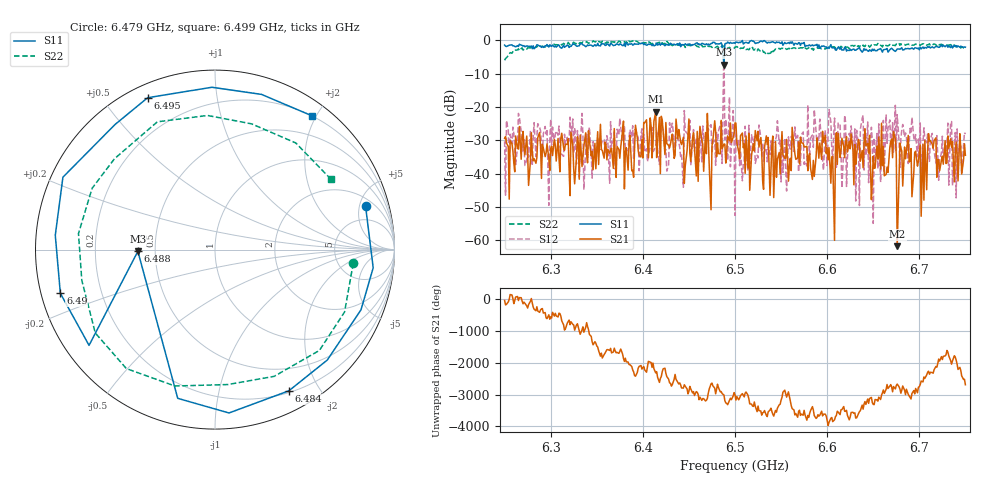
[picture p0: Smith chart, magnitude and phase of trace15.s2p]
# Hz S RI R 50
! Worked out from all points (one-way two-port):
!   401 points, 6.25 GHz to 6.75 GHz, reference 50 ohm
!   highest |S21| = -21.45 dB at 6.414 GHz (marker M1); lowest = -61.7 dB at 6.676 GHz (marker M2)
!   lowest |S11| = -7.3 dB at 6.488 GHz (marker M3), VSWR 2.51, Z = 19.9 - j0.47 ohm
!   |S11| at or under -10 dB: nowhere
!   |S22| runs from -6.0 to -0.2 dB; largest |S21 - S12| = 0.78
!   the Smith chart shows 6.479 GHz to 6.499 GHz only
!   S11 on the Smith chart (normalised r, x): 6.479 GHz: 2.84, +5.74; 6.484 GHz: 0.22, -1.63; 6.488 GHz: 0.40, -0.01; 6.49 GHz: 0.06, -0.14; 6.495 GHz: 0.05, +0.65; 6.499 GHz: 0.20, +1.94
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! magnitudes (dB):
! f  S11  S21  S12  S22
! 6.25 GHz  -1.5  -29.4  -30.3  -6.0
! 6.334 GHz  -1.0  -37.9  -21.9  -0.8
! 6.414 GHz  -1.5  -21.4  -31.5  -0.9
! 6.418 GHz  -1.1  -23.2  -37.3  -0.6
! 6.479 GHz  -1.2  -27.4  -37.5  -2.2
! 6.484 GHz  -1.0  -34.0  -25.3  -2.4
! 6.488 GHz  -7.3  -31.1  -2.1  -1.8
! 6.49 GHz  -1.0  -36.8  -23.7  -2.3
! 6.495 GHz  -0.7  -24.8  -37.9  -2.5
! 6.499 GHz  -0.7  -28.0  -29.0  -2.4
! 6.5 GHz  -0.9  -24.8  -52.5  -2.1
! 6.514 GHz  -0.9  -38.3  -39.2  -2.7
! 6.525 GHz  -0.8  -27.3  -35.3  -2.6
! 6.54 GHz  -0.5  -31.7  -34.4  -2.9
! 6.584 GHz  -1.4  -41.7  -28.4  -2.5
! 6.634 GHz  -2.4  -29.7  -32.1  -1.6
! 6.639 GHz  -3.2  -38.2  -22.5  -1.5
! 6.648 GHz  -3.3  -47.8  -26.1  -1.5
! 6.668 GHz  -2.9  -32.1  -23.9  -1.3
! 6.676 GHz  -2.7  -61.7  -22.3  -1.4
! 6.72 GHz  -2.0  -35.7  -34.5  -1.3
! 6.75 GHz  -2.1  -34.5  -28.2  -2.5
